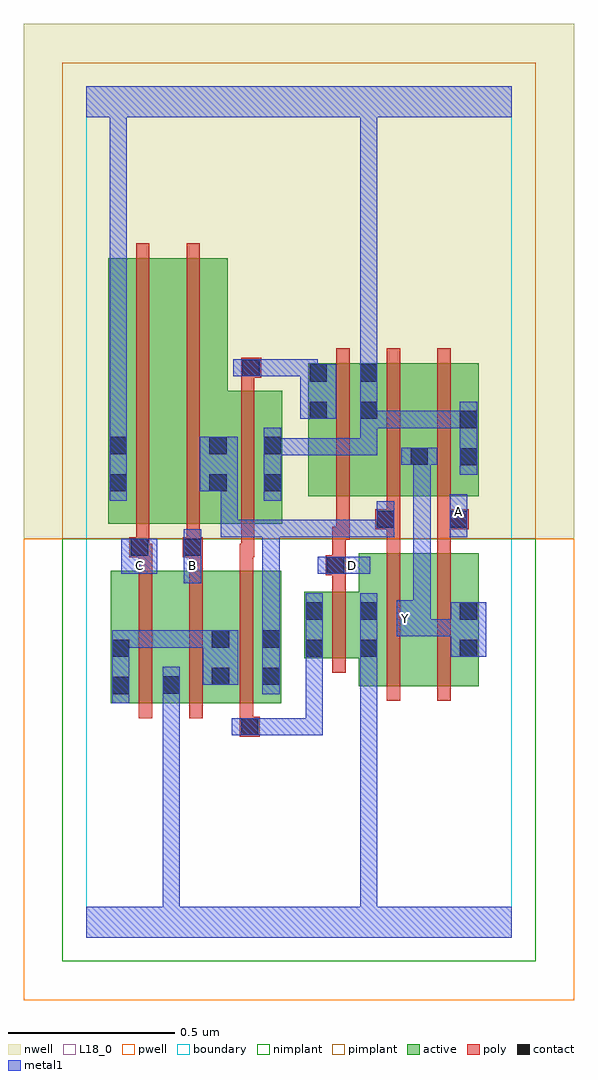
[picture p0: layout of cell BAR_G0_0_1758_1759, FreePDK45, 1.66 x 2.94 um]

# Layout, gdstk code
import gdstk
lib = gdstk.Library(unit=1e-6, precision=1e-09)
def R(c, l, rs):  # rectangles x0, y0, x1, y1
    for r in rs: c.add(gdstk.rectangle(r[:2], r[2:], *l))
def A(c, l, x, y, w, h, nx, ny, dx, dy):  # array of equal rectangles
    R(c, l, [(x+i*dx, y+j*dy, x+i*dx+w, y+j*dy+h) for i in range(nx) for j in range(ny)])
active = (1, 0)
pwell = (2, 0)
nwell = (3, 0)
nimplant = (4, 0)
pimplant = (5, 0)
poly = (9, 0)
contact = (10, 0)
metal1 = (11, 0)
L18_0 = (18, 0)
boundary = (235, 0)

bar_g0_0_1758_1759 = lib.new_cell('BAR_G0_0_1758_1759')
R(bar_g0_0_1758_1759, active, [(0.074,0.704,0.134,1.104), (0.074,0.704,0.286,1.104), (0.226,0.704,0.434,1.104), (0.226,0.704,0.286,1.034), (0.374,0.704,0.586,1.104), (0.526,0.704,0.586,1.104), (0.374,0.756,0.434,0.928), (0.82,0.756,1,1.156), (1,0.756,1.18,1.156), (1.12,0.756,1.18,1.156), (0.656,0.84,0.716,1.04), (0.656,0.84,0.88,1.04), (0.82,0.84,0.88,1.04), (0.066,1.244,0.246,2.044), (0.066,1.244,0.126,2.044), (0.246,1.244,0.426,2.044), (0.366,1.244,0.59,1.644), (0.53,1.244,0.59,1.644), (0.668,1.328,0.728,1.728), (0.668,1.328,0.88,1.728), (0.82,1.328,1.032,1.728), (0.972,1.328,1.032,1.728), (0.972,1.328,1.18,1.728), (1.12,1.328,1.18,1.644), (0.366,1.338,0.426,1.65), (0.82,1.394,0.88,1.728)])
R(bar_g0_0_1758_1759, pwell, [(-0.188,-0.188,1.468,1.2)])
R(bar_g0_0_1758_1759, nwell, [(-0.188,1.2,1.468,2.748)])
R(bar_g0_0_1758_1759, nimplant, [(-0.072,-0.072,1.352,1.2)])
R(bar_g0_0_1758_1759, pimplant, [(-0.072,1.2,1.352,2.632)])
A(bar_g0_0_1758_1759, poly, 0.158, 0.66, 0.04, 0.488, 3, 1, 0.152, 0)
A(bar_g0_0_1758_1759, poly, 0.158, 1.108, 0.04, 0.076, 3, 1, 0.152, 0)
A(bar_g0_0_1758_1759, poly, 0.752, 1.284, 0.04, 0.488, 3, 1, 0.152, 0)
R(bar_g0_0_1758_1759, poly, [(0.462,0.604,0.522,0.664), (0.462,0.624,0.502,0.7), (0.904,0.712,0.944,1.2), (1.056,0.712,1.096,1.2), (0.74,0.796,0.78,1.084), (0.74,1.044,0.78,1.13), (0.72,1.09,0.78,1.15), (0.74,1.11,0.78,1.236), (0.13,1.144,0.19,1.204), (0.15,1.144,0.19,1.184), (0.15,1.144,0.198,1.184), (0.29,1.144,0.35,1.204), (0.31,1.144,0.35,1.184), (0.31,1.144,0.35,1.184), (0.462,1.144,0.506,1.184), (0.466,1.144,0.506,1.184), (0.466,1.144,0.506,1.184), (0.466,1.144,0.506,1.24), (0.904,1.16,0.944,1.268), (1.056,1.16,1.096,1.268), (0.15,1.164,0.19,1.24), (0.302,1.164,0.342,1.24), (0.74,1.196,0.792,1.236), (0.752,1.196,0.792,1.324), (0.15,1.2,0.19,2.088), (0.302,1.2,0.342,2.088), (0.466,1.2,0.506,1.688), (0.87,1.228,0.944,1.288), (0.904,1.228,0.944,1.268), (0.904,1.228,0.944,1.268), (1.056,1.228,1.096,1.268), (1.056,1.228,1.096,1.268), (1.056,1.228,1.15,1.288), (0.904,1.248,0.944,1.324), (1.056,1.248,1.096,1.324), (0.466,1.648,0.506,1.724), (0.466,1.684,0.526,1.744)])
R(bar_g0_0_1758_1759, contact, [(0.466,0.608,0.518,0.66), (0.078,0.732,0.13,0.784), (0.23,0.734,0.282,0.786), (0.378,0.76,0.43,0.812), (0.53,0.76,0.582,0.812), (0.078,0.844,0.13,0.896), (0.66,0.844,0.712,0.896), (0.824,0.844,0.876,0.896), (1.124,0.844,1.176,0.896), (0.378,0.872,0.43,0.924), (0.53,0.872,0.582,0.924), (0.66,0.956,0.712,1.008), (0.824,0.956,0.876,1.008), (1.124,0.956,1.176,1.008), (0.724,1.094,0.776,1.146), (0.134,1.148,0.186,1.2), (0.294,1.148,0.346,1.2), (0.874,1.232,0.926,1.284), (1.094,1.232,1.146,1.284), (0.07,1.342,0.122,1.394), (0.37,1.342,0.422,1.394), (0.534,1.342,0.586,1.394), (1.124,1.42,1.176,1.472), (0.976,1.422,1.028,1.474), (0.07,1.454,0.122,1.506), (0.37,1.454,0.422,1.506), (0.534,1.454,0.586,1.506), (1.124,1.532,1.176,1.584), (0.672,1.56,0.724,1.612), (0.824,1.56,0.876,1.612), (0.672,1.672,0.724,1.724), (0.824,1.672,0.876,1.724), (0.47,1.688,0.522,1.74)])
R(bar_g0_0_1758_1759, metal1, [(0,0,1.28,0.092), (0.23,0.04,0.282,0.092), (0.23,0.04,0.282,0.092), (0.23,0.04,0.282,0.092), (0.23,0.04,0.282,0.092), (0.23,0.04,0.282,0.092), (0.23,0.04,0.282,0.092), (0.23,0.04,0.282,0.092), (0.23,0.04,0.282,0.092), (0.23,0.04,0.282,0.092), (0.23,0.04,0.282,0.092), (0.23,0.04,0.282,0.092), (0.23,0.04,0.282,0.092), (0.23,0.04,0.282,0.758), (0.824,0.04,0.876,0.092), (0.824,0.04,0.876,0.092), (0.824,0.04,0.876,0.092), (0.824,0.04,0.876,0.092), (0.824,0.04,0.876,0.092), (0.824,0.04,0.876,0.092), (0.824,0.04,0.876,0.092), (0.824,0.04,0.876,0.092), (0.824,0.04,0.876,0.092), (0.824,0.04,0.876,0.092), (0.824,0.04,0.876,0.092), (0.824,0.04,0.876,0.092), (0.824,0.04,0.876,0.868), (0.438,0.608,0.546,0.66), (0.494,0.608,0.586,0.66), (0.534,0.608,0.586,0.66), (0.534,0.608,0.712,0.66), (0.66,0.608,0.712,0.66), (0.66,0.608,0.712,0.66), (0.66,0.608,0.712,0.66), (0.66,0.608,0.712,0.66), (0.66,0.608,0.712,0.66), (0.66,0.608,0.712,0.868), (0.078,0.704,0.13,0.924), (0.23,0.706,0.282,0.814), (0.53,0.732,0.582,0.952), (0.35,0.76,0.458,0.924), (0.66,0.816,0.712,1.036), (0.824,0.816,0.876,1.036), (1.096,0.844,1.204,1.008), (0.078,0.872,0.13,0.924), (0.078,0.872,0.13,0.924), (0.078,0.872,0.284,0.924), (0.232,0.872,0.284,0.924), (0.232,0.872,0.284,0.924), (0.232,0.872,0.284,0.924), (0.232,0.872,0.402,0.924), (0.53,0.9,0.582,1.256), (0.934,0.906,1.036,1.014), (0.984,0.906,1.036,0.958), (0.984,0.906,1.036,0.958), (0.984,0.906,1.148,0.958), (1.096,0.906,1.148,0.958), (1.096,0.906,1.148,0.958), (0.984,0.962,1.036,1.474), (0.294,1.066,0.346,1.228), (0.106,1.094,0.214,1.2), (0.696,1.094,0.854,1.146), (0.404,1.204,0.456,1.256), (0.404,1.204,0.456,1.256), (0.404,1.204,0.456,1.256), (0.404,1.204,0.582,1.256), (0.404,1.204,0.456,1.394), (0.53,1.204,0.582,1.256), (0.53,1.204,0.582,1.256), (0.53,1.204,0.582,1.256), (0.53,1.204,0.696,1.256), (0.644,1.204,0.696,1.256), (0.644,1.204,0.696,1.256), (0.644,1.204,0.696,1.256), (0.644,1.204,0.876,1.256), (0.824,1.204,0.876,1.256), (0.824,1.204,0.926,1.256), (0.874,1.204,0.926,1.312), (1.094,1.204,1.146,1.334), (0.07,1.314,0.122,1.534), (0.534,1.314,0.586,1.534), (0.342,1.342,0.456,1.506), (1.124,1.392,1.176,1.612), (0.948,1.422,1.056,1.474), (0.984,1.422,1.036,1.474), (0.984,1.422,1.036,1.474), (0.534,1.45,0.766,1.502), (0.714,1.45,0.766,1.502), (0.714,1.45,0.766,1.502), (0.714,1.45,0.766,1.502), (0.714,1.45,0.876,1.502), (0.824,1.45,0.876,1.502), (0.824,1.45,0.876,1.584), (0.07,1.482,0.122,1.534), (0.07,1.482,0.122,1.534), (0.07,1.482,0.122,2.52), (0.824,1.532,0.876,1.584), (0.824,1.532,0.876,1.584), (0.824,1.532,0.876,1.584), (0.824,1.532,0.876,1.584), (0.824,1.532,0.876,1.584), (0.824,1.532,0.876,1.584), (0.824,1.532,0.876,1.752), (0.824,1.532,1.036,1.584), (0.984,1.532,1.036,1.584), (0.984,1.532,1.176,1.584), (1.124,1.532,1.176,1.584), (1.124,1.532,1.176,1.584), (0.644,1.56,0.752,1.724), (0.644,1.672,0.696,1.74), (0.442,1.688,0.55,1.74), (0.498,1.688,0.586,1.74), (0.534,1.688,0.586,1.74), (0.534,1.688,0.696,1.74), (0.644,1.688,0.696,1.74), (0.824,1.7,0.876,1.752), (0.824,1.7,0.876,1.752), (0.824,1.7,0.876,2.52), (0,2.468,1.28,2.56), (0.07,2.468,0.122,2.52), (0.07,2.468,0.122,2.52), (0.07,2.468,0.122,2.52), (0.07,2.468,0.122,2.52), (0.07,2.468,0.122,2.52), (0.07,2.468,0.122,2.52), (0.824,2.468,0.876,2.52), (0.824,2.468,0.876,2.52), (0.824,2.468,0.876,2.52), (0.824,2.468,0.876,2.52), (0.824,2.468,0.876,2.52), (0.824,2.468,0.876,2.52), (0.824,2.468,0.876,2.52), (0.824,2.468,0.876,2.52), (0.824,2.468,0.876,2.52), (0.824,2.468,0.876,2.52), (0.824,2.468,0.876,2.52), (0.824,2.468,0.876,2.52), (0.824,2.468,0.876,2.52), (0.824,2.468,0.876,2.52)])
R(bar_g0_0_1758_1759, L18_0, [(0,0,1.28,0.092), (0.23,0.04,0.282,0.092), (0.23,0.04,0.282,0.092), (0.23,0.04,0.282,0.092), (0.23,0.04,0.282,0.092), (0.23,0.04,0.282,0.092), (0.23,0.04,0.282,0.092), (0.23,0.04,0.282,0.092), (0.23,0.04,0.282,0.092), (0.23,0.04,0.282,0.092), (0.23,0.04,0.282,0.092), (0.23,0.04,0.282,0.092), (0.23,0.04,0.282,0.092), (0.23,0.04,0.282,0.758), (0.824,0.04,0.876,0.092), (0.824,0.04,0.876,0.092), (0.824,0.04,0.876,0.092), (0.824,0.04,0.876,0.092), (0.824,0.04,0.876,0.092), (0.824,0.04,0.876,0.092), (0.824,0.04,0.876,0.092), (0.824,0.04,0.876,0.092), (0.824,0.04,0.876,0.092), (0.824,0.04,0.876,0.092), (0.824,0.04,0.876,0.092), (0.824,0.04,0.876,0.092), (0.824,0.04,0.876,0.868), (0.23,0.706,0.282,0.814), (0.824,0.816,0.876,1.036), (1.096,0.844,1.204,1.008), (0.934,0.906,1.036,1.014), (0.984,0.906,1.036,0.958), (0.984,0.906,1.036,0.958), (0.984,0.906,1.148,0.958), (1.096,0.906,1.148,0.958), (1.096,0.906,1.148,0.958), (0.934,0.934,0.986,0.986), (0.984,0.962,1.036,1.474), (0.294,1.066,0.346,1.228), (0.106,1.094,0.214,1.2), (0.134,1.094,0.186,1.146), (0.294,1.094,0.346,1.146), (0.696,1.094,0.854,1.146), (0.774,1.094,0.826,1.146), (1.094,1.204,1.146,1.334), (1.094,1.254,1.146,1.306), (0.07,1.314,0.122,1.534), (0.534,1.314,0.586,1.534), (1.124,1.392,1.176,1.612), (0.948,1.422,1.056,1.474), (0.984,1.422,1.036,1.474), (0.984,1.422,1.036,1.474), (0.534,1.45,0.766,1.502), (0.714,1.45,0.766,1.502), (0.714,1.45,0.766,1.502), (0.714,1.45,0.766,1.502), (0.714,1.45,0.876,1.502), (0.824,1.45,0.876,1.502), (0.824,1.45,0.876,1.584), (0.07,1.482,0.122,1.534), (0.07,1.482,0.122,1.534), (0.07,1.482,0.122,2.52), (0.824,1.532,0.876,1.752), (0.824,1.532,0.876,1.584), (0.824,1.532,0.876,1.584), (0.824,1.532,0.876,1.584), (0.824,1.532,0.876,1.584), (0.824,1.532,0.876,1.584), (0.824,1.532,0.876,1.584), (0.824,1.532,1.036,1.584), (0.984,1.532,1.036,1.584), (0.984,1.532,1.176,1.584), (1.124,1.532,1.176,1.584), (1.124,1.532,1.176,1.584), (0.824,1.7,0.876,1.752), (0.824,1.7,0.876,1.752), (0.824,1.7,0.876,2.52), (0,2.468,1.28,2.56), (0.07,2.468,0.122,2.52), (0.07,2.468,0.122,2.52), (0.07,2.468,0.122,2.52), (0.07,2.468,0.122,2.52), (0.07,2.468,0.122,2.52), (0.07,2.468,0.122,2.52), (0.824,2.468,0.876,2.52), (0.824,2.468,0.876,2.52), (0.824,2.468,0.876,2.52), (0.824,2.468,0.876,2.52), (0.824,2.468,0.876,2.52), (0.824,2.468,0.876,2.52), (0.824,2.468,0.876,2.52), (0.824,2.468,0.876,2.52), (0.824,2.468,0.876,2.52), (0.824,2.468,0.876,2.52), (0.824,2.468,0.876,2.52), (0.824,2.468,0.876,2.52), (0.824,2.468,0.876,2.52), (0.824,2.468,0.876,2.52)])
R(bar_g0_0_1758_1759, boundary, [(0,0,1.28,2.56)])
bar_g0_0_1758_1759.add(gdstk.Label('A', (1.12,1.28), layer=11, texttype=0))
bar_g0_0_1758_1759.add(gdstk.Label('B', (0.32,1.12), layer=11, texttype=0))
bar_g0_0_1758_1759.add(gdstk.Label('C', (0.16,1.12), layer=11, texttype=0))
bar_g0_0_1758_1759.add(gdstk.Label('D', (0.8,1.12), layer=11, texttype=0))
bar_g0_0_1758_1759.add(gdstk.Label('Y', (0.96,0.96), layer=11, texttype=0))

lib.write_gds('BAR_G0_0_1758_1759.gds')
